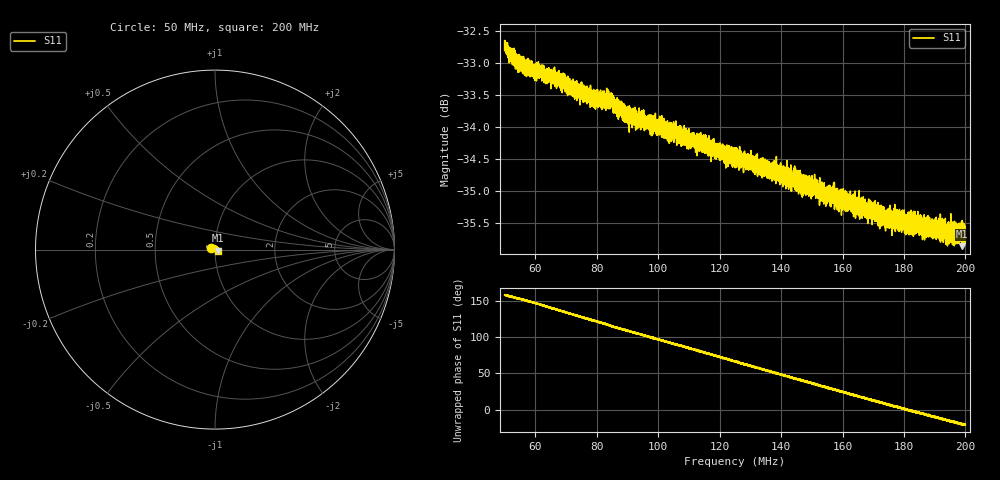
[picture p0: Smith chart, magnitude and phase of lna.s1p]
! COPPER MOUNTAIN TECHNOLOGIES, PLANAR TR1300/1, 00071119, 20.2.2/1.0
! Date: 1/7/2024 7:56:22 PM
! Data: Format [Calibration Info]
! Freq  S11: Re/Im F1
# HZ S RI R 50
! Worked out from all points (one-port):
!   12288 points, 50 MHz to 200 MHz, reference 50 ohm
!   lowest |S11| = -35.9 dB at 198.9 MHz (marker M1), VSWR 1.03, Z = 51.5 - j0.582 ohm
!   |S11| at or under -10 dB: start of sweep to end of sweep
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5e7  -0.0212 0.00866
5.062261e7  -0.021 0.0089
5.186783e7  -0.0206 0.00919
5.488321e7  -0.02 0.0106
6.159762e7  -0.0177 0.0128
6.3087e7  -0.0173 0.0133
6.583381e7  -0.0164 0.0142
6.875153e7  -0.0154 0.015
8.001953e7  -0.011 0.018
8.431676e7  -0.00906 0.0188
8.630667e7  -0.00822 0.0191
8.750305e7  -0.00743 0.0192
9.6244e7  -0.00389 0.0197
1.062546e8  5.23e-06 0.0198
1.250061e8  0.00746 0.0173
1.411939e8  0.0126 0.0135
1.437576e8  0.0129 0.0124
1.519492e8  0.0148 0.01
1.548181e8  0.0152 0.00901
1.566005e8  0.0154 0.00836
1.591031e8  0.0158 0.00767
1.625092e8  0.0162 0.0065
1.733377e8  0.0167 0.00254
1.812607e8  0.0169 -0.000102
1.847033e8  0.0166 -0.00138
1.894279e8  0.0164 -0.00254
1.988769e8  0.0151 -0.00565
2e8  0.0154 -0.0059
